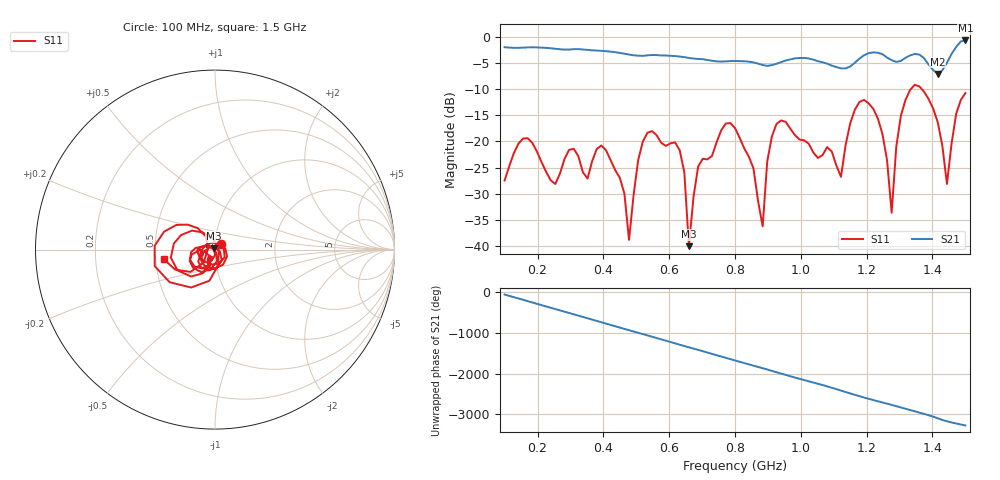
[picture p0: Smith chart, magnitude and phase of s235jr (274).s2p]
! NanoVNA-App
! Date: 2025-09-25 15:06:18
! Start: 100MHz Stop: 1,5GHz Points: 101
! S-Parameter data: F S11 S21 S12 S22
# Hz S RI R 50
!  Frequency  S11_Real  S11_Imag  S21_Real  S21_Imag  S12_Real  S12_Imag  S22_Real  S22_Imag
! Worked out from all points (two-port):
!   101 points, 100 MHz to 1.5 GHz, reference 50 ohm
!   highest |S21| = -0.67 dB at 1.5 GHz (marker M1); lowest = -7.1 dB at 1.416 GHz (marker M2)
!   |S21| within 3 dB of the highest: start of sweep to 619.2 MHz; 1.188 GHz to 1.256 GHz (67.62 MHz wide, 5.53 % of centre) (the widest 2 of 4)
!   lowest |S11| = -40.0 dB at 660 MHz (marker M3), VSWR 1.02, Z = 49.2 + j0.636 ohm
!   |S11| at or under -10 dB: start of sweep to 1.334 GHz; 1.368 GHz to end of sweep
!   S12 and S22 are empty: the file has one direction only
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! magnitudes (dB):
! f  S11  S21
! 100 MHz  -27.5  -2.0
! 156 MHz  -19.4  -2.1
! 338 MHz  -25.9  -2.4
! 408 MHz  -21.7  -2.7
! 478 MHz  -38.8  -3.4
! 520 MHz  -20.0  -3.6
! 576 MHz  -20.3  -3.5
! 632 MHz  -21.7  -3.7
! 660 MHz  -40.0  -4.0
! 688 MHz  -24.8  -4.2
! 800 MHz  -17.4  -4.6
! 884 MHz  -36.2  -5.4
! 926 MHz  -16.6  -5.1
! 1.038 GHz  -22.1  -4.3
! 1.122 GHz  -26.8  -6.0
! 1.206 GHz  -12.7  -3.1
! 1.276 GHz  -33.6  -4.4
! 1.304 GHz  -15.1  -4.6
! 1.332 GHz  -10.1  -3.5
! 1.416 GHz  -16.3  -7.1
! 1.444 GHz  -28.1  -4.9
! 1.5 GHz  -10.7  -0.7
